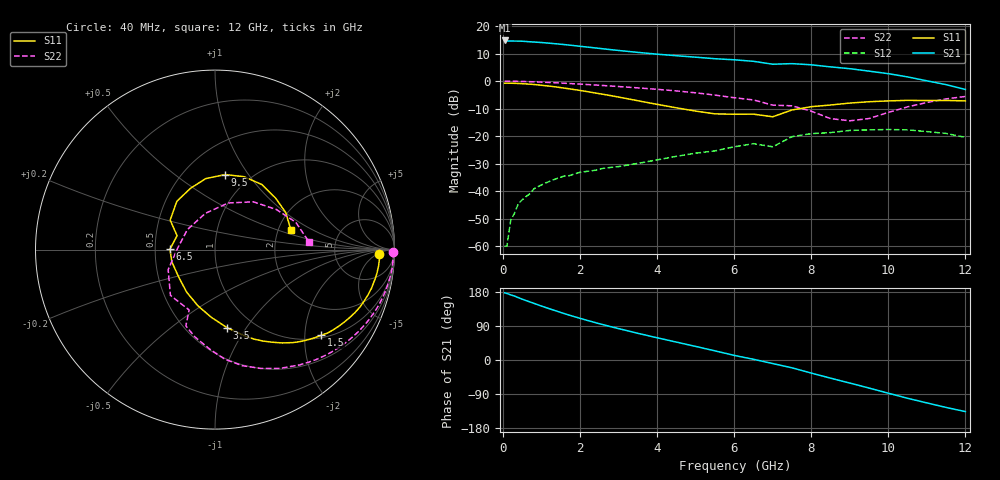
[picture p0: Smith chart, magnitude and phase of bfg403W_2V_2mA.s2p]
! Filename: 22bfg403.001
!BFG403W Field A1
! V1=8.662E-001V,V2=2.000E+000V, I1=2.759E-005A, I2=2.000E-003A
# GHz  S  MA  R 50
!  S11  S21  S12  S22
!Freq(GHz)  Mag  Ang  Mag  Ang  Mag  Ang  Mag  Ang
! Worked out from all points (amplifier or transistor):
!   44 points, 40 MHz to 12 GHz, reference 50 ohm
!   highest |S21| = 14.8 dB at 40 MHz (marker M1)
!   |S21| within 3 dB of that: start of sweep to 2.574 GHz
!   unconditionally stable (mu >= 1): 2.22 GHz to end of sweep
!   at 700 MHz: K = 0.27, MSG = 27.6 dB, |S12| = -40.9 dB
!   at 2.4 GHz: K = 1.12, MAG = 20.1 dB, |S12| = -32.4 dB
!   at 12 GHz: K = 4.42, MAG = -0.7 dB, |S12| = -20.4 dB
!   S11 on the Smith chart (normalised r, x): 40 MHz: 21, -6; 1.5 GHz: 1.07, -2.43; 3.5 GHz: 0.76, -0.82; 6.5 GHz: 0.60, +0.00; 9.5 GHz: 0.77, +0.79; 12 GHz: 2.35, +0.63
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0.04  0.916 -1.4  5.484 177.3  0.001 31.2  0.994 -0.7
0.1  0.918 -2.8  5.381 175.6  0.001 89.4  0.994 -2.0
0.2  0.916 -5.6  5.365 171.8  0.003 85.8  0.993 -4.1
0.4  0.906 -10.7  5.334 164.4  0.006 81.6  0.989 -8.2
0.8  0.868 -21.7  5.137 149.5  0.011 72.3  0.971 -16.1
1.2  0.811 -31.8  4.894 135.4  0.015 65.5  0.945 -23.8
1.5  0.761 -38.8  4.677 125.3  0.018 60.8  0.923 -29.2
1.8  0.71 -45.6  4.454 115.8  0.02 56.9  0.899 -34.4
2.2  0.642 -54.1  4.148 104.1  0.023 53.0  0.866 -41.1
2.8  0.544 -66.4  3.73 87.9  0.027 49.3  0.814 -50.6
3.5  0.44 -81.3  3.328 70.4  0.032 46.6  0.754 -61.4
4.5  0.327 -107.0  2.893 47.2  0.043 42.2  0.664 -76.8
5.5  0.254 -142.6  2.554 24.2  0.054 33.4  0.557 -92.8
6.5  0.251 179.3  2.291 1.9  0.073 25.1  0.455 -110.9
7  0.225 159.9  2.028 -9.4  0.064 24.1  0.366 -113.2
7.5  0.299 146.7  2.079 -20.6  0.098 13.8  0.356 -134.2
8  0.343 128.3  1.98 -34.5  0.111 -0.5  0.284 -156.7
8.5  0.368 111.7  1.814 -47.9  0.116 -12.5  0.208 177.7
9.5  0.422 82.2  1.519 -74.0  0.13 -37.9  0.209 105.0
10.5  0.447 54.2  1.192 -101.0  0.13 -65.6  0.341 51.3
11.5  0.445 27.7  0.862 -125.2  0.112 -93.9  0.475 18.7
12  0.437 14.3  0.705 -136.1  0.095 -110.7  0.526 4.6
